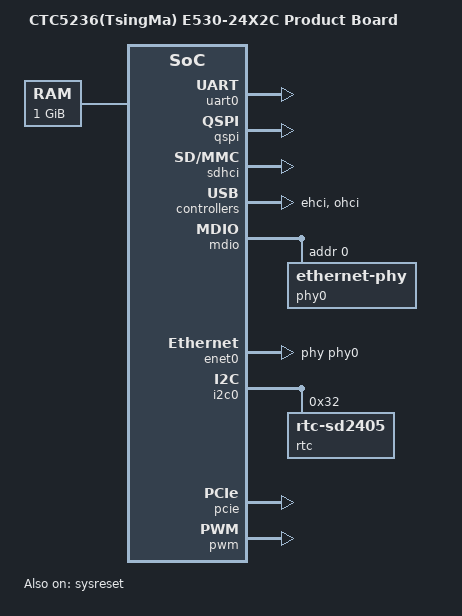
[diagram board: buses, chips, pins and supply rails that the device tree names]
/*
 * dts file for Centec CTC5236(TsingMa) SoC Emulation Board
 *
 * Copyright 2005-2019, Centec Networks (Suzhou) Co., Ltd.
 *
 * Author: Wangyb <wangyb@centecnetworks.com>
 *
 * This program is free software; you can redistribute it and/or
 * modify it under the terms of the GNU General Public License as
 * published by the Free Software Foundation; either version 2 of
 * the License, or (at your option) any later version.
 */

/dts-v1/;
#include "ctc5236.dtsi"

/ {
	model = " CTC5236(TsingMa) E530-24X2C Product Board";
	compatible = "ctc5236,e530-24x2c-p";

	memory {
		device_type = "memory";
		reg = <0 0x80000000 0 0x40000000>;
	};

	chosen {
		stdout-path = "serial0:115200n8";
	};

	aliases {
		serial0 = &uart0;
		spi1 = &qspi;
		mmc0 = &sdhci;
		usb0 = &ehci;
		usb1 = &ohci;
		ethernet0 = &enet0;
		i2c0 = &i2c0;
		pcie0 = &pcie;
	};
};

&uart0 {
	status = "okay";
	clock = <20000000>;
};

&qspi {
	status = "okay";
};

&sdhci {
	status = "okay";
	max-frequency = <100000000>;
};

&ehci {
	status = "okay";
};

&ohci {
	status = "okay";
};

&mdio {
	status = "okay";
			
	phy0: ethernet-phy@0 {
		index = <0x00>;
		reg = <0x0>;
	};
};

&enet0 {
	status = "okay";
	phy-handle = <&phy0>;
	auto-nego-mode = "sgmii-mac";
};

&i2c0 {
        status = "okay";
		rtc:rtc@32{
			compatible = "rtc-sd2405";
			reg = <0x32>;
		};
};

&pcie {
        status = "okay";
};

&gpio0 {
        status = "okay";
};
&pwm {
        status = "okay";
};

&sysreset {
		status = "okay";
};
